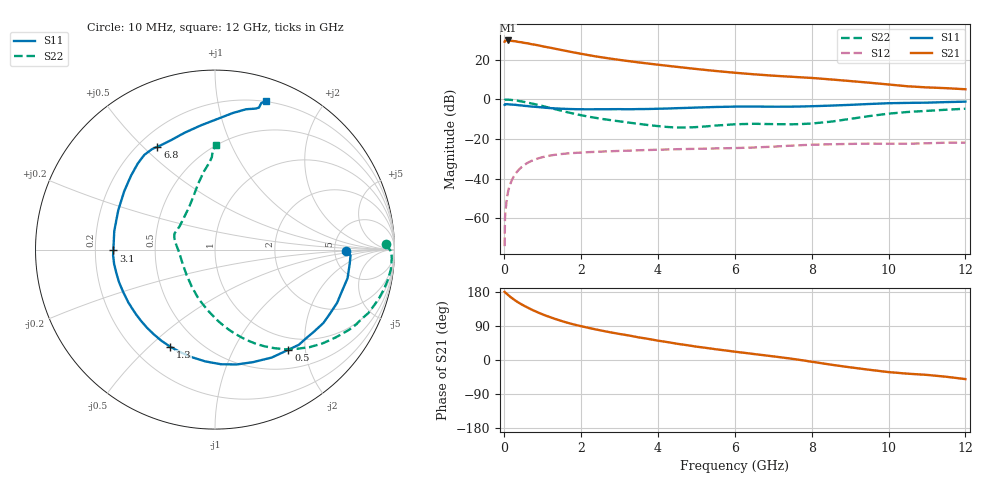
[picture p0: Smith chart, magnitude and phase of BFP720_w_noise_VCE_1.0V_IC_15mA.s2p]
! Infineon Technologies  Discrete & RF Semiconductors
! BFP720
! VCE =  1.0 V,  IC =  15 mA
! Common Emitter S-Parameters:  Aug 2012
# GHz  S  MA  R  50
!  f  S11  S21  S12  S22
! GHz  MAG  ANG  MAG  ANG  MAG  ANG  MAG  ANG
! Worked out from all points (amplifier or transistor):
!   105 points, 10 MHz to 12 GHz, reference 50 ohm
!   highest |S21| = 29.7 dB at 100 MHz (marker M1)
!   |S21| within 3 dB of that: start of sweep to 1.013 GHz
!   unconditionally stable (mu >= 1): start of sweep to 14.03 MHz; 4.689 GHz to 11.56 GHz
!   at 300 MHz: K = 0.11, MSG = 33.3 dB, |S12| = -37.3 dB
!   at 3.6 GHz: K = 0.83, MSG = 22.0 dB, |S12| = -25.6 dB
!   at 12 GHz: K = 0.91, MSG = 13.4 dB, |S12| = -21.8 dB
!   lowest NFmin = 0.63 dB at 450 MHz
!   S11 on the Smith chart (normalised r, x): 10 MHz: 6.46, -0.28; 500 MHz: 0.79, -1.69; 1.3 GHz: 0.35, -0.58; 3.1 GHz: 0.28, -0.00; 6.8 GHz: 0.27, +0.55; 12 GHz: 0.19, +1.38
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0.01  0.7323 -0.8  28.48 179.9  0.0002 99.1  0.9518 1.9
0.02  0.7558 -2.4  30.12 178.6  0.001 89.6  0.9831 -0.8
0.1  0.7556 -12.1  30.59 171.7  0.0047 83.3  0.986 -6.5
0.2  0.7422 -23.6  29.81 163.5  0.0093 79.1  0.967 -13.2
0.3  0.7293 -34.1  29.11 156.2  0.0137 74.0  0.9388 -19.4
0.45  0.7067 -48.6  27.64 146.8  0.0196 67.4  0.8901 -28.0
0.5  0.6918 -53.8  26.74 144.1  0.0216 65.2  0.8704 -30.9
0.6  0.6795 -62.3  25.99 138.8  0.0249 61.2  0.8313 -36.1
0.8  0.6512 -79.3  23.88 129.0  0.0306 53.9  0.7569 -45.9
1  0.6252 -95.0  21.78 120.3  0.0351 47.6  0.6797 -54.8
1.3  0.596 -114.8  19.14 109.2  0.0399 39.9  0.5746 -66.3
1.7  0.5719 -136.4  16 96.8  0.0439 32.5  0.4613 -79.1
2.1  0.5636 -151.9  13.56 87.0  0.0463 27.6  0.3827 -89.7
2.6  0.5651 -166.8  11.26 76.2  0.0487 23.3  0.3169 -101.4
3.1  0.5664 -179.5  9.61 67.1  0.0507 20.2  0.2717 -112.7
4.1  0.5844 155.6  7.304 49.5  0.0543 15.2  0.2077 -141.5
5  0.6237 138.5  5.837 35.2  0.0569 11.4  0.2008 -176.0
6.1  0.6586 125.8  4.616 20.7  0.0598 8.6  0.2375 162.8
6.8  0.6568 119.2  4.089 12.1  0.0632 7.6  0.2399 155.7
8.5  0.6976 96.2  3.186 -12.3  0.0739 -1.8  0.2748 122.1
10.5  0.8171 74.0  2.141 -36.1  0.0764 -12.9  0.4822 94.0
12  0.8782 71.0  1.802 -50.4  0.0815 -20.6  0.5826 89.7
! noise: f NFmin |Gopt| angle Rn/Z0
0.45  0.63  0.22  1  0.43
1.8  0.7  0.22  14  0.13
2.4  0.75  0.2  22  0.38
5.5  0.93  0.1  -30  0.18
10  1.11  0.44  -74  0.27
